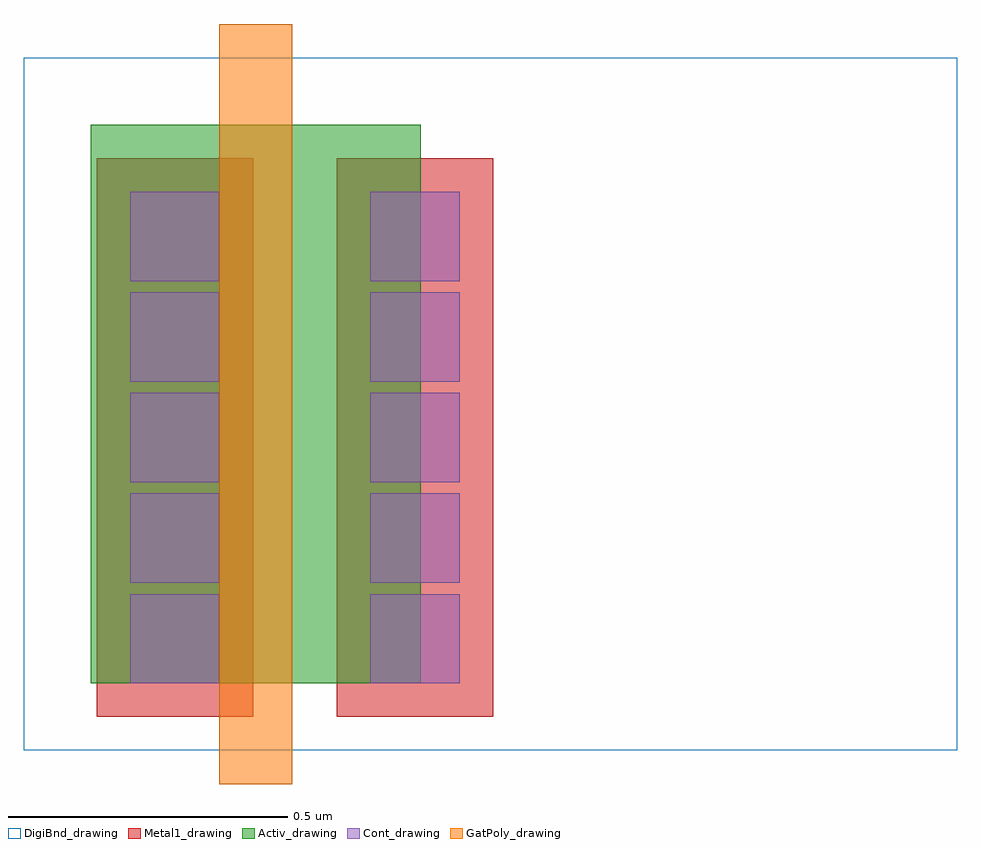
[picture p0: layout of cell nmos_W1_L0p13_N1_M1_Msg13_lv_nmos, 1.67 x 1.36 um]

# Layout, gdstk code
import gdstk
lib = gdstk.Library(unit=1e-6, precision=1e-09)
def R(c, l, rs):  # rectangles x0, y0, x1, y1
    for r in rs: c.add(gdstk.rectangle(r[:2], r[2:], *l))
Activ_drawing = (1, 0)
GatPoly_drawing = (5, 0)
Cont_drawing = (6, 0)
Metal1_drawing = (8, 0)
DigiBnd_drawing = (16, 0)

rectangle_gdsfactorypcom = lib.new_cell('rectangle_gdsfactorypcomponentspshapesprectangle_S0p13__357758a5')
R(rectangle_gdsfactorypcom, GatPoly_drawing, [(0,0,0.13,1.36)])

c_rectangle_gdsfactorypcom = lib.new_cell('rectangle_gdsfactorypcomponentspshapesprectangle_S0p590_18c225c2')
R(c_rectangle_gdsfactorypcom, Activ_drawing, [(0,0,0.59,1)])

c_rectangle_gdsfactorypcom_ = lib.new_cell('rectangle_gdsfactorypcomponentspshapesprectangle_S0p16__69e6ae0d')
R(c_rectangle_gdsfactorypcom_, Cont_drawing, [(0,0,0.16,0.16)])

c_rectangle_gdsfactorypcom__ = lib.new_cell('rectangle_gdsfactorypcomponentspshapesprectangle_S0p28__9ef741b7')
R(c_rectangle_gdsfactorypcom__, Metal1_drawing, [(0,0,0.28,0.28)])

c_rectangle_gdsfactorypcom___ = lib.new_cell('rectangle_gdsfactorypcomponentspshapesprectangle_S1p67__356bade5')
R(c_rectangle_gdsfactorypcom___, DigiBnd_drawing, [(0,0,1.67,1.24)])

nmos_w1_l0p13_n1_m1_msg1 = lib.new_cell('nmos_W1_L0p13_N1_M1_Msg13_lv_nmos')
nmos_w1_l0p13_n1_m1_msg1.add(gdstk.Reference(rectangle_gdsfactorypcom, (0,0)))
nmos_w1_l0p13_n1_m1_msg1.add(gdstk.Reference(c_rectangle_gdsfactorypcom, (-0.23,0.18)))
nmos_w1_l0p13_n1_m1_msg1.add(gdstk.Reference(c_rectangle_gdsfactorypcom_, (-0.16,0.18)))
nmos_w1_l0p13_n1_m1_msg1.add(gdstk.Reference(c_rectangle_gdsfactorypcom__, (-0.22,0.12)))
nmos_w1_l0p13_n1_m1_msg1.add(gdstk.Reference(c_rectangle_gdsfactorypcom_, (-0.16,0.36)))
nmos_w1_l0p13_n1_m1_msg1.add(gdstk.Reference(c_rectangle_gdsfactorypcom__, (-0.22,0.3)))
nmos_w1_l0p13_n1_m1_msg1.add(gdstk.Reference(c_rectangle_gdsfactorypcom_, (-0.16,0.54)))
nmos_w1_l0p13_n1_m1_msg1.add(gdstk.Reference(c_rectangle_gdsfactorypcom__, (-0.22,0.48)))
nmos_w1_l0p13_n1_m1_msg1.add(gdstk.Reference(c_rectangle_gdsfactorypcom_, (-0.16,0.72)))
nmos_w1_l0p13_n1_m1_msg1.add(gdstk.Reference(c_rectangle_gdsfactorypcom__, (-0.22,0.66)))
nmos_w1_l0p13_n1_m1_msg1.add(gdstk.Reference(c_rectangle_gdsfactorypcom_, (-0.16,0.9)))
nmos_w1_l0p13_n1_m1_msg1.add(gdstk.Reference(c_rectangle_gdsfactorypcom__, (-0.22,0.84)))
nmos_w1_l0p13_n1_m1_msg1.add(gdstk.Reference(c_rectangle_gdsfactorypcom_, (0.27,0.18)))
nmos_w1_l0p13_n1_m1_msg1.add(gdstk.Reference(c_rectangle_gdsfactorypcom__, (0.21,0.12)))
nmos_w1_l0p13_n1_m1_msg1.add(gdstk.Reference(c_rectangle_gdsfactorypcom_, (0.27,0.36)))
nmos_w1_l0p13_n1_m1_msg1.add(gdstk.Reference(c_rectangle_gdsfactorypcom__, (0.21,0.3)))
nmos_w1_l0p13_n1_m1_msg1.add(gdstk.Reference(c_rectangle_gdsfactorypcom_, (0.27,0.54)))
nmos_w1_l0p13_n1_m1_msg1.add(gdstk.Reference(c_rectangle_gdsfactorypcom__, (0.21,0.48)))
nmos_w1_l0p13_n1_m1_msg1.add(gdstk.Reference(c_rectangle_gdsfactorypcom_, (0.27,0.72)))
nmos_w1_l0p13_n1_m1_msg1.add(gdstk.Reference(c_rectangle_gdsfactorypcom__, (0.21,0.66)))
nmos_w1_l0p13_n1_m1_msg1.add(gdstk.Reference(c_rectangle_gdsfactorypcom_, (0.27,0.9)))
nmos_w1_l0p13_n1_m1_msg1.add(gdstk.Reference(c_rectangle_gdsfactorypcom__, (0.21,0.84)))
nmos_w1_l0p13_n1_m1_msg1.add(gdstk.Reference(c_rectangle_gdsfactorypcom___, (-0.35,0.06)))

lib.write_gds('nmos_W1_L0p13_N1_M1_Msg13_lv_nmos.gds')
